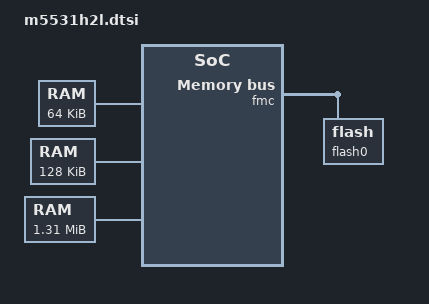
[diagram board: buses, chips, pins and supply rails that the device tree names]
/*
 * Copyright (c) 2025 Nuvoton Technology Corporation.
 *
 * SPDX-License-Identifier: Apache-2.0
 */

#include <mem.h>
#include <nuvoton/m55m1x.dtsi>

/ {
	itcm: memory@0 {
		compatible = "zephyr,memory-region", "arm,itcm";
		reg = <0x00000000 DT_SIZE_K(64)>;
		zephyr,memory-region = "ITCM";
	};

	soc {
		fmc: flash-controller@40044000 {
			ranges;
			#address-cells = <1>;
			#size-cells = <1>;

			flash0: flash@100000 {
				reg = <0x100000 DT_SIZE_K(2048)>;
				ranges = <0x0 0x100000 DT_SIZE_K(2048)>;
				#address-cells = <1>;
				#size-cells = <1>;
			};
		};
	};

	dtcm: memory@20000000 {
		compatible = "zephyr,memory-region", "arm,dtcm";
		reg = <0x20000000 DT_SIZE_K(128)>;
		zephyr,memory-region = "DTCM";
	};

	sram0: memory@20100000 {
		compatible = "mmio-sram";
		reg = <0x20100000 DT_SIZE_K(1344)>;
	};
};
